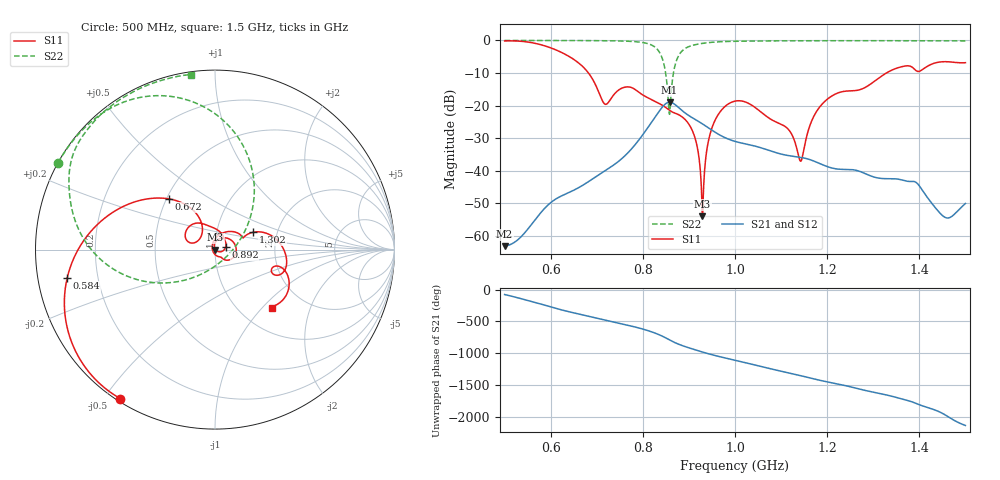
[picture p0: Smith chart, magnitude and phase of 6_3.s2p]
! TOUCHSTONE file generated by CST MICROWAVE STUDIO
! Date and time: Fri Oct 30 07:49:33 2020
! Project name: Scenario_1_Circular_Tissue_out_of_Line.cst
! Parameters = {dy1=-259.295; L_HA=400; MT=2.54; Rad_Dielectric=30; Rad_Lower=7.3; Rad_Upper=30; a_HA=580; a_WG=246; b_HA=500; b_WG=121; c_HA=0; c_WG=187; d_feed=85; dx1=520; h_feed=15; h_lower=18; h_upper=40}
! Header version: 2018
! Port assignment regex: !\s*Touchstone port\s*([0-9]+)\s*=\s*(CST MWS port|CST DS port)\s*([0-9]+|Zmin|Zmax)\s*\(\"(.*)\"\)(\s*mode\s*([0-9]+))?.*
! Touchstone port assignment:
! Touchstone port 1 = CST MWS port 1 ("")
! Touchstone port 2 = CST MWS port 2 ("")
# GHz S DB R 50
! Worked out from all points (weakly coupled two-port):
!   1001 points, 500 MHz to 1.5 GHz, reference 50 ohm
!   highest |S21| = -18.98 dB at 858 MHz (marker M1); lowest = -63.2 dB at 500 MHz (marker M2)
!   lowest |S11| = -54.1 dB at 929 MHz (marker M3), VSWR 1.00, Z = 50.2 + j0.0201 ohm
!   |S11| at or under -10 dB: 681.9 MHz to 1.329 GHz (646.8 MHz wide, 64.3 % of centre)
!   |S22| runs from -22.7 to 0.0 dB; largest |S21 - S12| = 5.3e-05
!   S11 on the Smith chart (normalised r, x): 500 MHz: 0.01, -0.55; 584 MHz: 0.09, -0.09; 672 MHz: 0.52, +0.34; 892 MHz: 1.13, +0.03; 1.302 GHz: 1.50, +0.31; 1.5 GHz: 1.39, -1.14
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0.5  -0.14 -122.5  -63.23 -77.0  -63.23 -77.0  -0.01 151.1
0.584  -1.53 -169.1  -52.05 122.3  -52.05 122.3  -0.02 145.3
0.667  -7.69 135.9  -44.73 -32.9  -44.73 -32.9  -0.04 138.4
0.672  -8.37 132.2  -44.30 -41.1  -44.30 -41.1  -0.04 137.9
0.718  -19.59 140.8  -40.05 -119.3  -40.05 -119.3  -0.09 132.6
0.767  -14.27 141.4  -34.63 160.3  -34.63 160.3  -0.24 123.9
0.834  -19.26 81.2  -22.02 14.8  -22.03 14.8  -3.19 83.5
0.858  -21.48 56.0  -18.98 -71.3  -18.98 -71.3  -22.71 -57.2
0.872  -22.47 42.0  -19.94 -121.5  -19.94 -121.5  -6.61 -159.1
0.892  -24.34 12.6  -22.32 -176.7  -22.32 -176.7  -2.46 173.2
0.915  -30.85 -26.0  -24.41 130.1  -24.41 130.1  -1.27 159.6
0.929  -54.10 5.8  -25.62 99.0  -25.62 99.0  -0.91 154.7
0.952  -26.10 80.6  -27.77 52.1  -27.78 52.1  -0.54 148.7
1  -18.65 8.2  -31.02 -31.0  -31.02 -31.0  -0.26 140.2
1.112  -26.80 -60.7  -35.29 137.8  -35.29 137.8  -0.12 128.6
1.142  -37.13 -160.1  -35.93 87.4  -35.93 87.4  -0.11 126.2
1.167  -24.54 89.7  -36.85 42.5  -36.85 42.5  -0.10 124.2
1.302  -12.62 24.4  -41.99 -176.3  -41.99 -176.3  -0.08 113.9
1.334  -9.57 12.4  -42.48 133.9  -42.48 133.9  -0.09 111.4
1.393  -9.28 -22.2  -43.64 9.4  -43.64 9.4  -0.10 106.8
1.458  -6.53 -35.4  -54.49 -179.1  -54.49 -179.0  -0.11 101.5
1.5  -6.84 -45.8  -50.11 22.9  -50.21 22.2  -0.13 97.8
